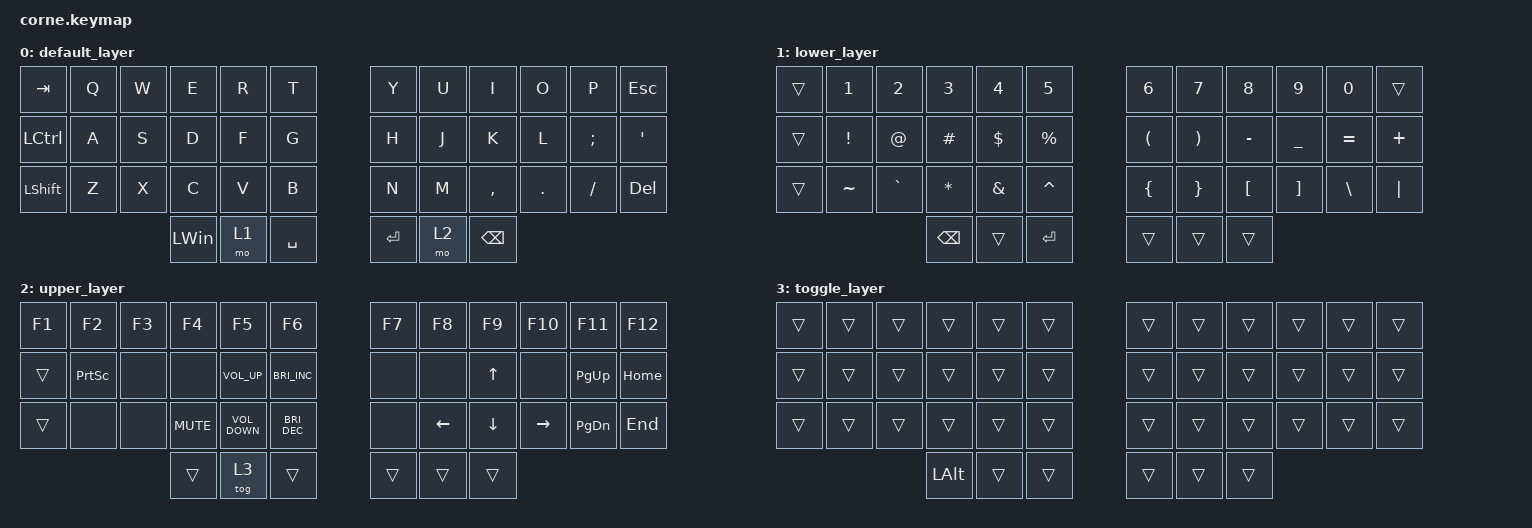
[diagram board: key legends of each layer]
/*
 * Copyright (c) 2020 The ZMK Contributors
 *
 * SPDX-License-Identifier: MIT
 */

#include <behaviors.dtsi>
#include <dt-bindings/zmk/keys.h>

/ {
    keymap {
        compatible = "zmk,keymap";

        default_layer {
            // -----------------------------------------------------------------------------------------
            // |  TAB |  Q  |  W  |  E  |  R  |  T  |   |  Y  |  U   |  I  |  O  |  P  | BSPC |
            // | CTRL |  A  |  S  |  D  |  F  |  G  |   |  H  |  J   |  K  |  L  |  ;  |  '   |
            // | SHFT |  Z  |  X  |  C  |  V  |  B  |   |  N  |  M   |  ,  |  .  |  /  | ESC  |
            //                    | GUI | LWR | SPC |   | ENT | RSE  | ALT |

            bindings = <
&kp TAB    &kp Q  &kp W  &kp E         &kp R  &kp T        &kp Y    &kp U  &kp I          &kp O    &kp P     &kp ESC
&kp LCTRL  &kp A  &kp S  &kp D         &kp F  &kp G        &kp H    &kp J  &kp K          &kp L    &kp SEMI  &kp SQT
&kp LSHFT  &kp Z  &kp X  &kp C         &kp V  &kp B        &kp N    &kp M  &kp COMMA      &kp DOT  &kp FSLH  &kp DELETE
                         &kp LEFT_WIN  &mo 1  &kp SPACE    &kp RET  &mo 2  &kp BACKSPACE
            >;
        };

        lower_layer {
            // -----------------------------------------------------------------------------------------
            // |  TAB |  1  |  2  |  3  |  4  |  5  |   |  6  |  7  |  8  |  9  |  0  | BSPC |
            // | BTCLR| BT1 | BT2 | BT3 | BT4 | BT5 |   | LFT | DWN |  UP | RGT |     |      |
            // | SHFT |     |     |     |     |     |   |     |     |     |     |     |      |
            //                    | GUI |     | SPC |   | ENT |     | ALT |

            bindings = <
&trans  &kp N1           &kp N2       &kp N3         &kp N4         &kp N5         &kp N6                &kp N7                 &kp N8            &kp N9             &kp N0         &trans
&trans  &kp EXCLAMATION  &kp AT_SIGN  &kp POUND      &kp DOLLAR     &kp PERCENT    &kp LEFT_PARENTHESIS  &kp RIGHT_PARENTHESIS  &kp MINUS         &kp UNDERSCORE     &kp EQUAL      &kp PLUS
&trans  &kp TILDE        &kp GRAVE    &kp ASTERISK   &kp AMPERSAND  &kp CARET      &kp LEFT_BRACE        &kp RIGHT_BRACE        &kp LEFT_BRACKET  &kp RIGHT_BRACKET  &kp BACKSLASH  &kp PIPE
                                      &kp BACKSPACE  &trans         &kp ENTER      &trans                &trans                 &trans
            >;
        };

        upper_layer {
            bindings = <
&kp F1  &kp F2           &kp F3  &kp F4      &kp F5             &kp F6                  &kp F7  &kp F8          &kp F9          &kp F10          &kp F11        &kp F12
&trans  &kp PRINTSCREEN  &none   &none       &kp C_VOLUME_UP    &kp C_BRIGHTNESS_INC    &none   &none           &kp UP_ARROW    &none            &kp PAGE_UP    &kp HOME
&trans  &none            &none   &kp C_MUTE  &kp C_VOLUME_DOWN  &kp C_BRIGHTNESS_DEC    &none   &kp LEFT_ARROW  &kp DOWN_ARROW  &kp RIGHT_ARROW  &kp PAGE_DOWN  &kp END
                                 &trans      &tog 3             &trans                  &trans  &trans          &trans
            >;
        };

        toggle_layer {
            bindings = <
&trans  &trans  &trans  &trans    &trans  &trans    &trans  &trans  &trans  &trans  &trans  &trans
&trans  &trans  &trans  &trans    &trans  &trans    &trans  &trans  &trans  &trans  &trans  &trans
&trans  &trans  &trans  &trans    &trans  &trans    &trans  &trans  &trans  &trans  &trans  &trans
                        &kp LALT  &trans  &trans    &trans  &trans  &trans
            >;
        };
    };
};
